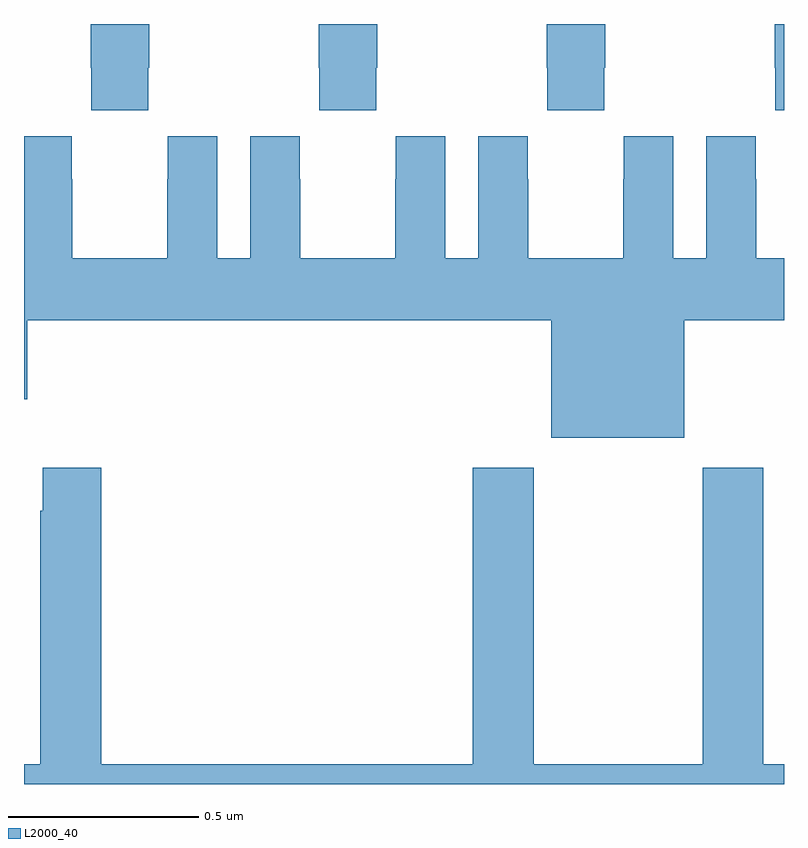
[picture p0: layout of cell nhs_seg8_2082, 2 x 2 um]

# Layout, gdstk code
import gdstk
lib = gdstk.Library(unit=1e-6, precision=1e-09)
def P(c, l, *ps):  # polygons
    for p in ps: c.add(gdstk.Polygon(p, *l))
L2000_40 = (2000, 40)

nhs_seg8_2082 = lib.new_cell('nhs_seg8_2082')
P(nhs_seg8_2082, L2000_40, [(139.375,1163.785),(139.377,1163.785),(139.377,1163.673),(139.527,1163.673),(139.527,1163.785),(139.53,1163.785),(139.53,1163.9),(139.375,1163.9)],
  [(140,1163.9),(139.975,1163.9),(139.975,1163.785),(139.977,1163.785),(139.977,1163.673),(140,1163.673)],
  [(138.327,1163.785),(138.33,1163.785),(138.33,1163.9),(138.175,1163.9),(138.175,1163.785),(138.177,1163.785),(138.177,1163.673),(138.327,1163.673)],
  [(138.927,1163.785),(138.93,1163.785),(138.93,1163.9),(138.775,1163.9),(138.775,1163.785),(138.777,1163.785),(138.777,1163.673),(138.927,1163.673)],
  [(139.578,1163.605),(139.578,1163.492),(139.577,1163.492),(139.577,1163.284),(139.327,1163.284),(139.327,1163.492),(139.326,1163.492),(139.326,1163.605),(139.196,1163.605),(139.196,1163.284),(139.108,1163.284),(139.108,1163.605),(138.978,1163.605),(138.978,1163.492),(138.977,1163.492),(138.977,1163.284),(138.727,1163.284),(138.727,1163.492),(138.726,1163.492),(138.726,1163.605),(138.596,1163.605),(138.596,1163.284),(138.508,1163.284),(138.508,1163.605),(138.378,1163.605),(138.378,1163.492),(138.377,1163.492),(138.377,1163.284),(138.127,1163.284),(138.127,1163.492),(138.126,1163.492),(138.126,1163.605),(138,1163.605),(138,1162.912),(138.008,1162.912),(138.008,1163.12),(139.388,1163.12),(139.388,1162.811),(139.738,1162.811),(139.738,1163.12),(140,1163.12),(140,1163.284),(139.927,1163.284),(139.927,1163.492),(139.926,1163.492),(139.926,1163.605),(139.796,1163.605),(139.796,1163.284),(139.708,1163.284),(139.708,1163.605)],
  [(140,1161.952),(139.946,1161.952),(139.946,1162.732),(139.786,1162.732),(139.786,1161.952),(139.341,1161.952),(139.341,1162.732),(139.181,1162.732),(139.181,1161.952),(138.203,1161.952),(138.203,1162.732),(138.049,1162.732),(138.049,1162.619),(138.043,1162.619),(138.043,1161.952),(138,1161.952),(138,1161.9),(140,1161.9)])

lib.write_gds('nhs_seg8_2082.gds')
